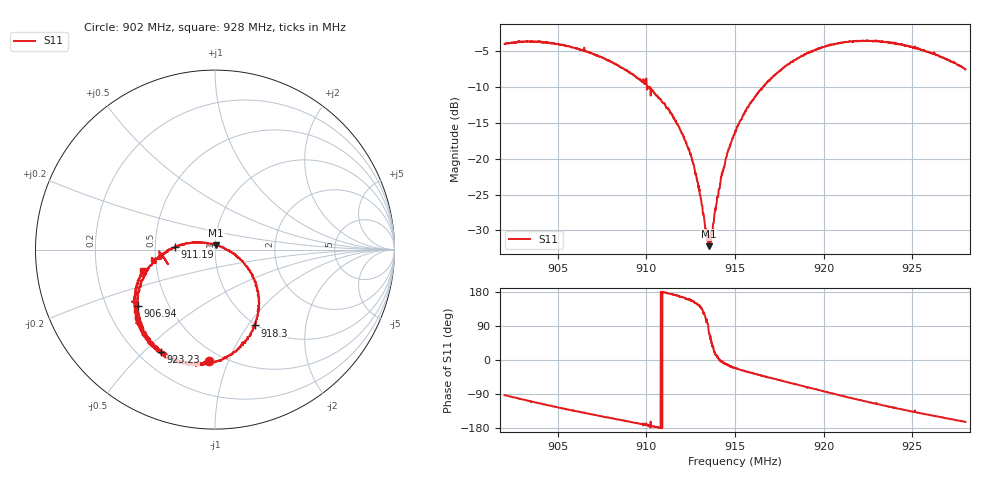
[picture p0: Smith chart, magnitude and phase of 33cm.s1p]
! Calibrated averaged scanner-service zoom
# Hz S RI R 50
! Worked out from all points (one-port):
!   2001 points, 902 MHz to 928 MHz, reference 50 ohm
!   lowest |S11| = -32.2 dB at 913.52 MHz (marker M1), VSWR 1.05, Z = 50.5 + j2.42 ohm
!   |S11| at or under -10 dB: 910.0159 MHz to 910.0565 MHz (40.58 kHz wide, 0.00446 % of centre); 910.09 MHz to 916.59 MHz (6.502 MHz wide, 0.712 % of centre)
!   S11 on the Smith chart (normalised r, x): 902 MHz: 0.42, -0.86; 906.94 MHz: 0.33, -0.29; 911.19 MHz: 0.64, +0.02; 918.3 MHz: 0.98, -1.07; 923.23 MHz: 0.29, -0.57; 928 MHz: 0.42, -0.12
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9.02e8  -0.033 -0.623
9.03287e8  -0.1926 -0.6208
9.0525e8  -0.3721 -0.4909
9.0694e8  -0.4317 -0.3154
9.085e8  -0.4026 -0.1663
9.09878e8  -0.3301 -0.0567
9.11191e8  -0.222 0.0154
9.1175e8  -0.17 0.0295
9.12608e8  -0.0856 0.0386
9.1292e8  -0.0527 0.0375
9.13388e8  -0.00512 0.0316
9.13518e8  0.00575 0.0239
9.13674e8  0.021 0.0205
9.13973e8  0.049 0.00907
9.14337e8  0.0823 -0.00822
9.14597e8  0.1077 -0.0273
9.15e8  0.1422 -0.0547
9.15572e8  0.1858 -0.1042
9.163e8  0.2227 -0.1793
9.17249e8  0.2464 -0.2925
9.1825e8  0.2224 -0.4142
9.18302e8  0.2203 -0.4227
9.20044e8  0.0726 -0.5947
9.215e8  -0.113 -0.6432
9.23229e8  -0.3029 -0.5722
9.2475e8  -0.4144 -0.4428
9.26336e8  -0.4451 -0.2763
9.28e8  -0.3994 -0.1214
